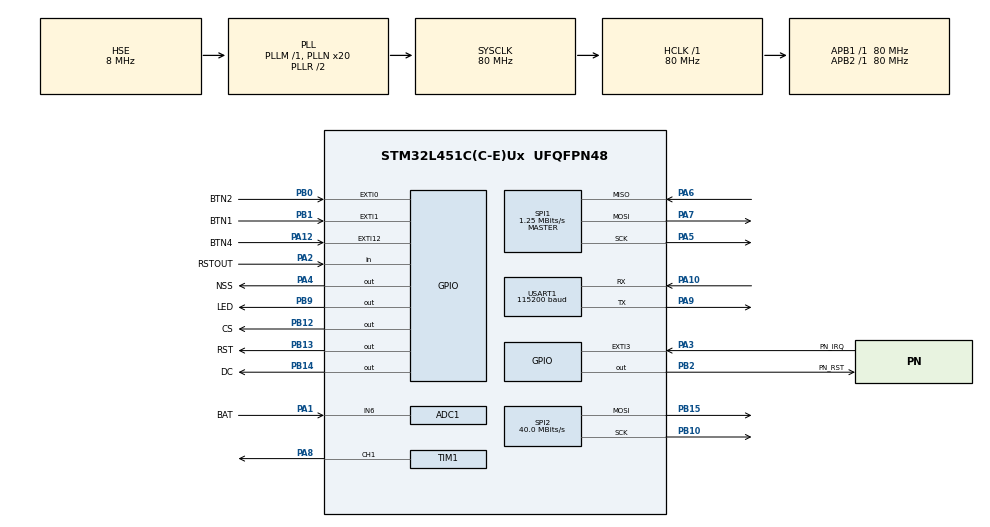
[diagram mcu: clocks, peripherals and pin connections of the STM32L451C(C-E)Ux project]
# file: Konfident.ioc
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ADC1.Channel-1\#ChannelRegularConversion=ADC_CHANNEL_6
ADC1.NbrOfConversionFlag=1
ADC1.OffsetNumber-1\#ChannelRegularConversion=ADC_OFFSET_NONE
ADC1.Rank-1\#ChannelRegularConversion=1
ADC1.SamplingTime-1\#ChannelRegularConversion=ADC_SAMPLETIME_2CYCLES_5
ADC1.master=1
Mcu.Family=STM32L4
Mcu.Name=STM32L451C(C-E)Ux
Mcu.Package=UFQFPN48
NVIC.EXTI0_IRQn=true\:2\:0\:true\:false\:true\:true\:true\:true
NVIC.EXTI15_10_IRQn=true\:2\:0\:true\:false\:true\:true\:true\:true
NVIC.EXTI1_IRQn=true\:2\:0\:true\:false\:true\:true\:true\:true
NVIC.EXTI3_IRQn=true\:2\:0\:true\:false\:true\:true\:true\:true
NVIC.PriorityGroup=NVIC_PRIORITYGROUP_4
NVIC.RTC_WKUP_IRQn=true\:0\:0\:false\:false\:true\:true\:true\:true
PA0.GPIO_Label=BTN3
PA0.Mode=SYS_WakeUp0
PA0.Signal=SYS_WKUP1
PA1.GPIO_Label=BAT
PA1.Signal=ADCx_IN6
PA10.Mode=Asynchronous
PA10.Signal=USART1_RX
PA12.GPIO_Label=BTN4
PA12.GPIO_ModeDefaultEXTI=GPIO_MODE_IT_FALLING
PA12.GPIO_PuPd=GPIO_PULLUP
PA12.Signal=GPXTI12
PA2.GPIO_Label=RSTOUT
PA2.Signal=GPIO_Input
PA3.GPIO_Label=PN_IRQ
PA3.Signal=GPXTI3
PA4.GPIO_Label=NSS
PA4.Signal=GPIO_Output
PA5.Mode=Full_Duplex_Master
PA5.Signal=SPI1_SCK
PA6.Mode=Full_Duplex_Master
PA6.Signal=SPI1_MISO
PA7.Mode=Full_Duplex_Master
PA7.Signal=SPI1_MOSI
PA8.Signal=S_TIM1_CH1
PA9.Mode=Asynchronous
PA9.Signal=USART1_TX
PB0.GPIO_Label=BTN2
PB0.GPIO_PuPd=GPIO_PULLUP
PB0.Signal=GPXTI0
PB1.GPIO_Label=BTN1
PB1.GPIO_ModeDefaultEXTI=GPIO_MODE_IT_FALLING
PB1.GPIO_PuPd=GPIO_PULLUP
PB1.Signal=GPXTI1
PB10.Mode=TX_Only_Simplex_Unidirect_Master
PB10.Signal=SPI2_SCK
PB12.GPIO_Label=CS
PB12.Signal=GPIO_Output
PB13.GPIO_Label=RST
PB13.Signal=GPIO_Output
PB14.GPIO_Label=DC
PB14.Signal=GPIO_Output
PB15.Mode=TX_Only_Simplex_Unidirect_Master
PB15.Signal=SPI2_MOSI
PB2.GPIO_Label=PN_RST
PB2.Signal=GPIO_Output
PB9.GPIO_Label=LED
PB9.Signal=GPIO_Output
PC14-OSC32_IN\ (PC14).Mode=LSE-External-Oscillator
PC14-OSC32_IN\ (PC14).Signal=RCC_OSC32_IN
PC15-OSC32_OUT\ (PC15).Mode=LSE-External-Oscillator
PC15-OSC32_OUT\ (PC15).Signal=RCC_OSC32_OUT
PH0-OSC_IN\ (PH0).Mode=HSE-External-Oscillator
PH0-OSC_IN\ (PH0).Signal=RCC_OSC_IN
PH1-OSC_OUT\ (PH1).Mode=HSE-External-Oscillator
PH1-OSC_OUT\ (PH1).Signal=RCC_OSC_OUT
ProjectManager.HeapSize=0x200
ProjectManager.StackSize=0x400
ProjectManager.TargetToolchain=STM32CubeIDE
RCC.ADCFreq_Value=32000000
RCC.AHBFreq_Value=80000000
RCC.APB1Freq_Value=80000000
RCC.APB1TimFreq_Value=80000000
RCC.APB2Freq_Value=80000000
RCC.APB2TimFreq_Value=80000000
RCC.CortexFreq_Value=80000000
RCC.HCLKFreq_Value=80000000
RCC.HSE_VALUE=8000000
RCC.HSI48_VALUE=48000000
RCC.HSI_VALUE=16000000
RCC.MSI_VALUE=4000000
RCC.PLLN=20
RCC.PLLSourceVirtual=RCC_PLLSOURCE_HSE
RCC.RTCClockSelection=RCC_RTCCLKSOURCE_LSE
RCC.SYSCLKFreq_VALUE=80000000
RCC.SYSCLKSource=RCC_SYSCLKSOURCE_PLLCLK
RCC.VCOOutputFreq_Value=160000000
RTC.Date=10
RTC.Hours=20
RTC.Minutes=10
RTC.Month=RTC_MONTH_JUNE
RTC.WakeUpCounter-WakeUp=61440
RTC.WeekDay=RTC_WEEKDAY_TUESDAY
RTC.Year=25
SH.ADCx_IN6.0=ADC1_IN6,IN6-Single-Ended
SH.S_TIM1_CH1.0=TIM1_CH1,PWM Generation1 CH1
SPI1.BaudRatePrescaler=SPI_BAUDRATEPRESCALER_64
SPI1.CalculateBaudRate=1.25 MBits/s
SPI1.DataSize=SPI_DATASIZE_8BIT
SPI1.Direction=SPI_DIRECTION_2LINES
SPI1.FirstBit=SPI_FIRSTBIT_LSB
SPI1.Mode=SPI_MODE_MASTER
SPI1.NSSPMode=SPI_NSS_PULSE_ENABLE
SPI1.VirtualType=VM_MASTER
SPI2.CalculateBaudRate=40.0 MBits/s
SPI2.DataSize=SPI_DATASIZE_8BIT
SPI2.Direction=SPI_DIRECTION_2LINES
SPI2.Mode=SPI_MODE_MASTER
SPI2.VirtualType=VM_MASTER
TIM1.Channel-PWM\ Generation1\ CH1=TIM_CHANNEL_1
TIM1.Period=49
TIM1.Prescaler=399
TIM1.Pulse-PWM\ Generation1\ CH1=20000
USART1.BaudRate=115200
USART1.VirtualMode-Asynchronous=VM_ASYNC
VP_RTC_VS_RTC_Activate.Mode=RTC_Enabled
VP_RTC_VS_RTC_Calendar.Mode=RTC_Calendar
VP_RTC_VS_RTC_WakeUp_intern.Mode=WakeUp
board=custom

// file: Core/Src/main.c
/* USER CODE BEGIN Header */
/**
  ******************************************************************************
  * @file           : main.c
  * @brief          : Main program body
  ******************************************************************************
  * @attention
  *
  * Copyright (c) 2025 STMicroelectronics.
  * All rights reserved.
  *
  * This software is licensed under terms that can be found in the LICENSE file
  * in the root directory of this software component.
  * If no LICENSE file comes with this software, it is provided AS-IS.
  *
  ******************************************************************************
  */
/* USER CODE END Header */
#include "main.h"

/* USER CODE BEGIN Includes */
#include "ILI9486Lib.h"
#include "database.h"

/* USER CODE END Includes */

ADC_HandleTypeDef hadc1;

RTC_HandleTypeDef hrtc;

SPI_HandleTypeDef hspi1;
SPI_HandleTypeDef hspi2;

TIM_HandleTypeDef htim1;

UART_HandleTypeDef huart1;

void SystemClock_Config(void);
static void MX_GPIO_Init(void);
static void MX_RTC_Init(void);
static void MX_SPI2_Init(void);
static void MX_TIM1_Init(void);
static void MX_ADC1_Init(void);
static void MX_SPI1_Init(void);
static void MX_USART1_UART_Init(void);

/* USER CODE BEGIN 0 */
Nauczyciel Nauczyciele[2];
Student Studenci[4];
Terminarz Terminarze[32];
uint8_t buff[255];
uint8_t uid[10];
uint8_t key_a[] = {0xFF, 0xFF, 0xFF, 0xFF, 0xFF, 0xFF};
uint8_t rtccounter = 0;
uint32_t pn532_error = PN532_ERROR_NONE;
char list[50][9] = {0};
uint8_t list_len = 0;
int32_t uid_len = 0;
PN532 pn532;
volatile uint8_t response_ready = 0;
time_t timestamp = 0;
uint16_t lesson_ids[10] = {0};
void* nauczyciel = NULL;
uint16_t wybrana_lekcja = 0;
uint16_t lessons_len = 0;
uint16_t id_lekcji = 0;
volatile uint32_t last_button_time = 0;
uint8_t status = 0;	// 1 jeżeli czeka na tak nauczyciela, 2 jeżeli czeka na wybór listy, 3 jeżeli czeka na tagi studentów lub zatwierdzenie listy, 0 dla reszty

uint8_t rx_buffer[128];
char* msg = "Wiadomość z STM32\r\n";

void buzzer(void)
{
	BUZZER_ON
	HAL_Delay(3000);
	BUZZER_OFF
}

void Set_Pin_HiZ(GPIO_TypeDef* GPIOx, uint16_t GPIO_Pin)
{
    GPIO_InitTypeDef GPIO_InitStruct = {0};
    GPIO_InitStruct.Pin = GPIO_Pin;
    GPIO_InitStruct.Mode = GPIO_MODE_INPUT;      // tryb wejścia = Hi-Z
    GPIO_InitStruct.Pull = GPIO_NOPULL;
    HAL_GPIO_Init(GPIOx, &GPIO_InitStruct);
}

void Set_Pin_Low(GPIO_TypeDef* GPIOx, uint16_t GPIO_Pin)
{
    GPIO_InitTypeDef GPIO_InitStruct = {0};

    HAL_GPIO_WritePin(GPIOx, GPIO_Pin, GPIO_PIN_RESET); // ustaw na LOW przed zmianą trybu!

    GPIO_InitStruct.Pin = GPIO_Pin;
    GPIO_InitStruct.Mode = GPIO_MODE_OUTPUT_PP;   // push-pull output
    GPIO_InitStruct.Pull = GPIO_NOPULL;
    GPIO_InitStruct.Speed = GPIO_SPEED_FREQ_LOW;
    HAL_GPIO_Init(GPIOx, &GPIO_InitStruct);
}

void sendList(void)
{
	  char buff[50] = {0};
	  char ack[4] = {0};
	  char len[4] = {0};
	  char ack_server[45] = {0};
	  uint8_t id_1 = 1;
	  uint8_t id_2 = 2;
	  sprintf(buff, "/4/[\"%d\",\"%d\"]", id_1, id_2);
	  ILI_WriteString(3,160,buff,0);
//	  printf("Buff: %s\r\n", buff);
	  uint8_t len_num = strlen(buff);
//	  printf("len_num: %d\r\n", len_num);
	  sprintf(len, "%d", len_num);
//	  printf("len: %s\r\n", len);
	  ILI_WriteString(3,180,len,0);
	  HAL_UART_Transmit(&huart1, (uint8_t *)len, strlen(len), HAL_MAX_DELAY);
	  HAL_StatusTypeDef status3 = HAL_UART_Receive(&huart1, (uint8_t *)ack, 3, HAL_MAX_DELAY);
	  if (status3 == 0 && strstr(ack, "ACK") != NULL){
//		  printf("Otrzymano ACK\r\n");
		  ILI_WriteString(3,200,"Otrzymano ACK",0);
		  HAL_UART_Transmit(&huart1, (uint8_t *)buff, len_num, HAL_MAX_DELAY);
		  HAL_StatusTypeDef status4 = HAL_UART_Receive(&huart1, (uint8_t *)ack, 3, HAL_MAX_DELAY);
		  if (status4 == 0 && strstr(ack, "ACK") != NULL){
//				  printf("Otrzymano ACK\r\n");
			  ILI_WriteString(3,220,"Otrzymano ACK",0);
				HAL_StatusTypeDef status5 = HAL_UART_Receive(&huart1, (uint8_t *)ack_server, 42, HAL_MAX_DELAY);
//				printf("ack_server: %s", ack_server);
				ILI_WriteString(3,240,ack_server, 0);
		  }
	  }
}

float getBatteryVoltage(void)
{
//	BUZZER_ON
//	HAL_Delay(500);
//	BUZZER_OFF
	uint32_t adc_value = 0;
	float voltage = 0.0f;
	BATTERY_DIVIDER_ON
	HAL_Delay(10);
    HAL_ADC_Start(&hadc1);                              // Uruchom ADC
    if (HAL_ADC_PollForConversion(&hadc1, 100) == HAL_OK) // Czekaj na zakończenie konwersji
    {
        adc_value = HAL_ADC_GetValue(&hadc1);           // Pobierz wartość
        voltage = ((float)adc_value / 4095.0f) * 3.3f;  // Zakładając napięcie referencyjne 3.3V
    }
    HAL_ADC_Stop(&hadc1);
    HAL_Delay(10);
    BATTERY_DIVIDER_OFF

	HAL_Delay(500);
    voltage = (8.0/3.0)*voltage;
//    BUZZER_OFF
    return voltage;
}

//int __io_putchar(int ch)
//{
//	char buffer[20];
////    HAL_UART_Transmit(&huart2, (uint8_t *)&ch, 1, HAL_MAX_DELAY);
//    sprintf(buffer, "%d", ch);
//    ILI_WriteString(410,100,buffer,0);
//    return ch;
//}

void uart_test(void)
{
	char buffer[11], response[13];
	sprintf(buffer, "0%s", ((Nauczyciel*)nauczyciel)->uuid);
//	__HAL_UART_FLUSH_DRREGISTER(&huart1); // dla HAL
//	__HAL_UART_CLEAR_OREFLAG(&huart1);
//	__HAL_UART_CLEAR_FEFLAG(&huart1);
//	__HAL_UART_CLEAR_NEFLAG(&huart1);
	HAL_UART_Transmit(&huart1, (uint8_t*)buffer, 15, HAL_MAX_DELAY);
	HAL_StatusTypeDef status;
	status = HAL_UART_Receive(&huart1, (uint8_t*)response, 13, HAL_MAX_DELAY);
	response[12] = '\0';
	if (status == 0)
	{
		ILI_WriteString(50,50,response,0);
	}
}

void PN532_IRQ_Teacher_Handler(void)
{
	BUZZER_ON
	HAL_Delay(500);
	BUZZER_OFF
	if (uid_len == PN532_STATUS_ERROR) {
	} else {
//		uart_test();
		char buffer[9];
		char bufor[50];
		uint8_t i = 0;
		for (i = 0; i < uid_len; i++)
		{
			sprintf(&buffer[i*2], "%02x", uid[i]);
		}
		buffer[i*2] = '\0';
		nauczyciel = findTeacherId(buffer);
		ILI_SmallCLS();
		if (nauczyciel == NULL)
		{
			ILI_WriteBigString(40,195,"Zeskanowany tag nie",0xFF0000);
			ILI_WriteBigString(60,225,"należy do żadnego",0xFF0000);
			ILI_WriteBigString(50,255,"pracownika uczelni",0xFF0000);
			return;
		}
		ILI_DrawPicture(110,80,((Nauczyciel*)nauczyciel)->zdjecie,100,125);
		ILI_WriteBigString(3,280,((Nauczyciel*)nauczyciel)->imie,0);
		ILI_WriteBigString(3,300,((Nauczyciel*)nauczyciel)->nazwisko,0);
		ILI_DrawWhiteSector(3,466,200,13);
		sprintf(bufor,"%c.%s",((Nauczyciel*)nauczyciel)->imie[0],((Nauczyciel*)nauczyciel)->nazwisko);
		ILI_WriteString(3,466,bufor,0);
		status = 2;
		//printf("\r\n");
		//		HAL_UART_Transmit(&hlpuart1, uid, uid_len, 1000);
		//		printf("Wyslano UART RFID\r\n");
	}
}

void PN532_IRQ_Student_Handler(void)
{
	BUZZER_ON
	HAL_Delay(500);
	BUZZER_OFF
	if (uid_len == PN532_STATUS_ERROR) {
	} else {
		char buffer[9];
		char bufor[100];
		uint8_t i = 0;
		for (i = 0; i < uid_len; i++)
		{
			sprintf(&buffer[i*2], "%02x", uid[i]);
		}
		buffer[i*2] = '\0';
		Student* student = findStudentId(buffer);
		ILI_SmallCLS();
		if (student == NULL)
		{
			ILI_WriteBigString(40,215,"Zeskanowany tag nie",0xFF0000);
			ILI_WriteBigString(3,245,"należy do żadnego studenta",0xFF0000);
			return;
		}

		ILI_DrawPicture(110,80,student->zdjecie,100,125);
		ILI_WriteBigString(3,280,student->imie,0);
		ILI_WriteBigString(3,300,student->nazwisko,0);
		uint8_t status = isStudentOnList(student->uuid, id_lekcji);
		if (status == 0)
		{
			ILI_WriteBigString(3,330,"Student nie znajduje się",0xFF0000);
			ILI_WriteBigString(3,360,"na liście",0xFF0000);
			return;
		}
		ILI_WriteBigString(3,330,"Zatwierdzono obecność",0x00FF00);
		for(i = 0; i < list_len; i++)
				{
					sprintf(bufor,"%02x%02x%02x%02x",list[i][0],list[i][1],list[i][2],list[i][3]);
					ILI_WriteString(3,360+(i*20),bufor,0);
				}
		for(i = 0; i < list_len; i++)
		{
			if(strcmp(list[i],student->uuid) == 0)	return;
		}
		strcpy(list[list_len],student->uuid);
		list_len++;
		//printf("\r\n");
		//		HAL_UART_Transmit(&hlpuart1, uid, uid_len, 1000);
		//		printf("Wyslano UART RFID\r\n");
	}
}

//void HAL_GPIO_EXTI_Callback(uint16_t GPIO_Pin)
//{
//    if (GPIO_Pin == PN532_IRQ_Pin)
//    {
//    	printf("IRQ from PN532 triggered!\r\n");
//    	printf("response_ready callback: %d\r\n", response_ready);
//    	if (response_ready == 1){
//    		printf("response_ready = 1 handler\r\n");
//    		PN532_IRQ_Handler();
//    	}
//    }
//}

void HAL_GPIO_EXTI_Callback(uint16_t GPIO_Pin)
{
	if (GPIO_Pin == BTN1_Pin)
	{
        uint32_t now = HAL_GetTick();
        if (now - last_button_time < 200) return; // debounce: 200 ms
        last_button_time = now;
		if (status == 3)	sendList();
		if (status == 2 && wybrana_lekcja > 0)	wybrana_lekcja--;
	}
	if (GPIO_Pin == BTN2_Pin)
	{
		uint32_t now = HAL_GetTick();
		if (now - last_button_time < 200) return; // debounce: 200 ms
		last_button_time = now;
		if (status == 2)
		{
			id_lekcji = Terminarze[lesson_ids[wybrana_lekcja]].id;
			ILI_DrawWhiteSector(200,466,119,13);
			ILI_WriteString(317  - (7 * strlen(Terminarze[lesson_ids[wybrana_lekcja]].nazwa_przedmiotu)),466,Terminarze[lesson_ids[wybrana_lekcja]].nazwa_przedmiotu,0);
			status = 3;
		}
	}
	if (GPIO_Pin == BTN4_Pin)
	{
		uint32_t now = HAL_GetTick();
		if (now - last_button_time < 200) return;
		last_button_time = now;
		if (status == 2 && wybrana_lekcja < lessons_len - 1)	wybrana_lekcja++;
	}
	if (GPIO_Pin == PN_IRQ_Pin)
	{
		if (response_ready == 0)	return;
		response_ready = 0;
		if (status == 1)	PN532_IRQ_Teacher_Handler();
		if (status == 3)	PN532_IRQ_Student_Handler();
	}
}

void HAL_RTCEx_WakeUpTimerEventCallback(RTC_HandleTypeDef *hrtc)
{
	ILI_DrawInnerBattery();
	timestamp += 30;
	struct tm *dt;
	dt = localtime(&timestamp);
	char date[17];
	sprintf(date,"%02d.%02d.%04d %d:%02d",dt->tm_mday,dt->tm_mon+1,dt->tm_year+1900,dt->tm_hour,dt->tm_min);
	ILI_DrawWhiteSector(3,1,115,12);
	ILI_WriteString(3,1,date,0);
}

void bytes_to_hex_string(const unsigned char *bytes, size_t length, char *output) {
    for (size_t i = 0; i < length; i++) {
        // %02X - formatowanie na 2 cyfry hex, wielkie litery
        sprintf(output + i*2, "%02X", bytes[i]);
    }
    output[length * 2] = '\0';  // zakończenie stringa
}
/* USER CODE END 0 */

int main(void)
{

  /* MCU Configuration--------------------------------------------------------*/

  /* Reset of all peripherals, Initializes the Flash interface and the Systick. */
  HAL_Init();

  /* Configure the system clock */
  SystemClock_Config();

  /* Initialize all configured peripherals */
  MX_GPIO_Init();
  MX_RTC_Init();
  MX_SPI2_Init();
  MX_TIM1_Init();
  MX_ADC1_Init();
  MX_SPI1_Init();
  MX_USART1_UART_Init();
  /* USER CODE BEGIN 2 */
  GPIO_InitTypeDef GPIO_InitStruct = {0};
  GPIO_InitStruct.Pin = GPIO_PIN_0;
  GPIO_InitStruct.Mode = GPIO_MODE_INPUT;
  GPIO_InitStruct.Pull = GPIO_PULLUP;
  PN532_SPI_Init(&pn532);
  PN532_SamConfiguration(&pn532);
  HAL_GPIO_Init(GPIOA, &GPIO_InitStruct);
  init_database();
  ILI_Init();
  ILI_Intro();
  ILI_CLS();
  setenv("TZ", "CET-1CEST,M3.5.0/2,M10.5.0/3", 1);
  tzset();
//  ILI_WriteString(3,1,"04.06.2025 11:22 MY_SSID",0);
//  ILI_DrawBlackSector(0,15,320,3);
//  ILI_DrawBattery();
//  ILI_DrawInnerBattery();
//  ILI_WriteBigString(3,280,"Kazimierz",0);
//  ILI_WriteBigString(3,300,"BRZĘCZYSZCZYKIEWICZ",0);
//  ILI_DrawBlackSector(0,462,320,3);
//  ILI_WriteString(3,466,"P.Korpas",0);
//  ILI_WriteString(290,466,"PBL4",0);
//  ILI_WriteString(90,350,"1. Zatwierdź listę",0);
//  ILI_WriteString(65,370,"2. Anuluj wybór przedmiotu",0);
//  ILI_WriteString(120,390,"3. Uśpij",0);
//  ILI_SmallCLS();
//  ILI_WriteBigString(3,280,"Kazimierz",0);
//  ILI_WriteBigString(3,300,"BRZĘCZYSZCZYKIEWICZ",0);
  ILI_CLS();
  ILI_WriteBigString(3, 220, "Połącz urządzenie do sieci Wi-Fi",0);
//  	  printf("Waiting for RFID/NFC card...\r\n");

//  	  printf("response ready waiting: %d\r\n", response_ready);

  /* USER CODE END 2 */

  /* Infinite loop */
  /* USER CODE BEGIN WHILE */
  // POBIRANIE DATY
     uint8_t timestamp1[10] = {0};
	  uint8_t ssid[16] = {0};
	  __HAL_UART_FLUSH_DRREGISTER(&huart1); // dla HAL
	  __HAL_UART_CLEAR_OREFLAG(&huart1);
	  __HAL_UART_CLEAR_FEFLAG(&huart1);
	  __HAL_UART_CLEAR_NEFLAG(&huart1);

//
//	  // Odczyt timestamp
	  while(1){
		  HAL_StatusTypeDef status;
		  status = HAL_UART_Receive(&huart1, timestamp1, 10, HAL_MAX_DELAY);
//		  printf("status: %d\r\n", status);
		  if (status == 0){
//			  for(uint8_t i=0; i < 10; i++){
//				  printf("%c", timestamp[i]);
//			  }
//			  printf("\r\n");
			  char timestamp_str[11];
			  memcpy(timestamp_str, timestamp1, 10);
			  timestamp_str[10] = '\0';
			  unsigned long timestamp_val = strtoul(timestamp_str, NULL, 10);
			  timestamp = timestamp_val - 30;
			  ILI_DrawBlackSector(0,15,320,3);
			  ILI_DrawBattery();
			  ILI_DrawBlackSector(0,462,320,3);
			  HAL_RTCEx_WakeUpTimerEventCallback(&hrtc);
			  HAL_TIM_PWM_Start(&htim1, TIM_CHANNEL_1);
			  HAL_RTCEx_SetWakeUpTimer_IT(&hrtc, 61440, RTC_WAKEUPCLOCK_RTCCLK_DIV16);
//			  uint8_t i = 0;
//			  for (i = 0; i < 10; i++)
//			  {
//				  timestamp *= 2;
//				  timestamp += timestamp1[i] - 48;
//			  }
			  HAL_Delay(1000);
			  HAL_UART_Transmit(&huart1, (uint8_t*)"ACK", strlen("ACK"), HAL_MAX_DELAY);
			  break;
		  }
	  }
//	  // Odczyt SSID
	  while(1){
		  HAL_StatusTypeDef status2 = HAL_UART_Receive(&huart1, ssid, 15, HAL_MAX_DELAY);
//		  printf("status2: %d\r\n", status2);
		  if (status2 == 0){
//			  for(uint8_t i=0; i < 32; i++){
//				  printf("%c", ssid[i]);
//			  }
//			  printf("\r\n");
			  ssid[15] = '\0';
			  ILI_DrawWhiteSector(120,1,170,12);
			  ILI_WriteString(130,1,ssid,0);
			  HAL_UART_Transmit(&huart1, (uint8_t*)"ACK", strlen("ACK"), HAL_MAX_DELAY);
			  ILI_SmallCLS();
			  ILI_WriteBigString(3, 220, "Zeskanuj tag prowadzącego",0);
  			  break;
  		  }
//  timestamp = 1749782311;
//  status = 1;
}
while (1)
{
	// Szukanie tagu RFID
	while (status == 1)
	{
//		ILI_LEDOFF();
		uid_len = PN532_ReadPassiveTarget(&pn532, uid, PN532_MIFARE_ISO14443A, 1000);
		//printf("uid_len: %d\r\n\n", uid_len);
		if (uid_len != PN532_STATUS_ERROR){
//			ILI_LEDON();
			response_ready = 1;
		}
	}
	HAL_Delay(5000);
	lessons_len = getLessonIds(((Nauczyciel*)nauczyciel)->uuid);
	if (lessons_len == 0)
	{
		char bufor[100] = {0};
		sprintf(bufor,"%s %s",((Nauczyciel*)nauczyciel)->imie,((Nauczyciel*)nauczyciel)->nazwisko);
		ILI_SmallCLS();
		ILI_WriteBigString(100,195,"Nauczyciel",0xFF0000);
		ILI_WriteBigString(160 - (6 * strlen(bufor)),225,bufor,0xFF0000);
		ILI_WriteBigString(10,255,"nie prowadzi teraz zajęć",0xFF0000);
		status = 1;
		continue;
	}
	uint16_t i = 0;
	while (status == 2)
	{
		ILI_SmallCLS();
		for (i = 0; i < lessons_len; i++)
		{
			if (wybrana_lekcja == i)
			{
				ILI_DrawBlackSector(0,20 + (30 * i),320,30);
				ILI_WriteBigString(160 - (10 * strlen(Terminarze[lesson_ids[i]].nazwa_przedmiotu)),22 + (30 * i),Terminarze[lesson_ids[i]].nazwa_przedmiotu,0xFFFFFF);
				continue;
			}
			ILI_WriteBigString(160 - (10 * strlen(Terminarze[lesson_ids[i]].nazwa_przedmiotu)),22 + (30 * i),Terminarze[lesson_ids[i]].nazwa_przedmiotu,0);
		}
		HAL_Delay(1000);
	}
	ILI_SmallCLS();
	ILI_WriteBigString(100,230,"Zeskanuj Tag",0);
	while (status == 3)
	{
		uid_len = PN532_ReadPassiveTarget(&pn532, uid, PN532_MIFARE_ISO14443A, 1000);
		//printf("uid_len: %d\r\n\n", uid_len);
		if (uid_len != PN532_STATUS_ERROR){
			response_ready = 1;
		}
	}

//	  uint8_t rx[260] = {0};
//	  HAL_UART_Transmit(&huart1, (uint8_t*)"Hello", strlen("Hello"), 1000);
//	  //printf("Wyslano UART\r\n");
//	  HAL_UART_Receive(&huart1, rx, 243, 1000);
//	  rx[258] = '\0';
//
//	  ILI_WriteString(3,20+index, (char*)rx,0);
//	  index+=20;
//
//	  HAL_Delay(2000);
//	  if(BTN1_PRESSED)
//	  {
//		  ILI_WriteString(120,300,"1",0);
//	  }
//	  else ILI_WriteString(120,300,"1",0xFFFFFF);
//	  if(BTN2_PRESSED)
//	  {
//		  ILI_WriteString(140,300,"2",0);
//	  }
//	  else ILI_WriteString(140,300,"2",0xFFFFFF);
//	  if(BTN3_PRESSED)
//	  {
//		  ILI_WriteString(160,300,"3",0);
//	  }
//	  else ILI_WriteString(160,300,"3",0xFFFFFF);
//	  if(BTN4_PRESSED)
//	  {
//		  ILI_WriteString(180,300,"4",0);
//	  }
//	  else ILI_WriteString(180,300,"4",0xFFFFFF);

    /* USER CODE END WHILE */

	}
}

void SystemClock_Config(void)
{
  RCC_OscInitTypeDef RCC_OscInitStruct = {0};
  RCC_ClkInitTypeDef RCC_ClkInitStruct = {0};

  /** Configure the main internal regulator output voltage
  */
  if (HAL_PWREx_ControlVoltageScaling(PWR_REGULATOR_VOLTAGE_SCALE1) != HAL_OK)
  {
    Error_Handler();
  }

  /** Configure LSE Drive Capability
  */
  HAL_PWR_EnableBkUpAccess();
  __HAL_RCC_LSEDRIVE_CONFIG(RCC_LSEDRIVE_LOW);

  /** Initializes the RCC Oscillators according to the specified parameters
  * in the RCC_OscInitTypeDef structure.
  */
  RCC_OscInitStruct.OscillatorType = RCC_OSCILLATORTYPE_HSE|RCC_OSCILLATORTYPE_LSE;
  RCC_OscInitStruct.HSEState = RCC_HSE_ON;
  RCC_OscInitStruct.LSEState = RCC_LSE_ON;
  RCC_OscInitStruct.PLL.PLLState = RCC_PLL_ON;
  RCC_OscInitStruct.PLL.PLLSource = RCC_PLLSOURCE_HSE;
  RCC_OscInitStruct.PLL.PLLM = 1;
  RCC_OscInitStruct.PLL.PLLN = 20;
  RCC_OscInitStruct.PLL.PLLP = RCC_PLLP_DIV7;
  RCC_OscInitStruct.PLL.PLLQ = RCC_PLLQ_DIV2;
  RCC_OscInitStruct.PLL.PLLR = RCC_PLLR_DIV2;
  if (HAL_RCC_OscConfig(&RCC_OscInitStruct) != HAL_OK)
  {
    Error_Handler();
  }

  /** Initializes the CPU, AHB and APB buses clocks
  */
  RCC_ClkInitStruct.ClockType = RCC_CLOCKTYPE_HCLK|RCC_CLOCKTYPE_SYSCLK
                              |RCC_CLOCKTYPE_PCLK1|RCC_CLOCKTYPE_PCLK2;
  RCC_ClkInitStruct.SYSCLKSource = RCC_SYSCLKSOURCE_PLLCLK;
  RCC_ClkInitStruct.AHBCLKDivider = RCC_SYSCLK_DIV1;
  RCC_ClkInitStruct.APB1CLKDivider = RCC_HCLK_DIV1;
  RCC_ClkInitStruct.APB2CLKDivider = RCC_HCLK_DIV1;

  if (HAL_RCC_ClockConfig(&RCC_ClkInitStruct, FLASH_LATENCY_4) != HAL_OK)
  {
    Error_Handler();
  }
}

static void MX_ADC1_Init(void)
{

  ADC_ChannelConfTypeDef sConfig = {0};

  /** Common config
  */
  hadc1.Instance = ADC1;
  hadc1.Init.ClockPrescaler = ADC_CLOCK_ASYNC_DIV1;
  hadc1.Init.Resolution = ADC_RESOLUTION_12B;
  hadc1.Init.DataAlign = ADC_DATAALIGN_RIGHT;
  hadc1.Init.ScanConvMode = ADC_SCAN_DISABLE;
  hadc1.Init.EOCSelection = ADC_EOC_SINGLE_CONV;
  hadc1.Init.LowPowerAutoWait = DISABLE;
  hadc1.Init.ContinuousConvMode = DISABLE;
  hadc1.Init.NbrOfConversion = 1;
  hadc1.Init.DiscontinuousConvMode = DISABLE;
  hadc1.Init.ExternalTrigConv = ADC_SOFTWARE_START;
  hadc1.Init.ExternalTrigConvEdge = ADC_EXTERNALTRIGCONVEDGE_NONE;
  hadc1.Init.DMAContinuousRequests = DISABLE;
  hadc1.Init.Overrun = ADC_OVR_DATA_PRESERVED;
  hadc1.Init.OversamplingMode = DISABLE;
  if (HAL_ADC_Init(&hadc1) != HAL_OK)
  {
    Error_Handler();
  }

  /** Configure Regular Channel
  */
  sConfig.Channel = ADC_CHANNEL_6;
  sConfig.Rank = ADC_REGULAR_RANK_1;
  sConfig.SamplingTime = ADC_SAMPLETIME_2CYCLES_5;
  sConfig.SingleDiff = ADC_SINGLE_ENDED;
  sConfig.OffsetNumber = ADC_OFFSET_NONE;
  sConfig.Offset = 0;
  if (HAL_ADC_ConfigChannel(&hadc1, &sConfig) != HAL_OK)
  {
    Error_Handler();
  }

}

static void MX_RTC_Init(void)
{

  RTC_TimeTypeDef sTime = {0};
  RTC_DateTypeDef sDate = {0};

  /** Initialize RTC Only
  */
  hrtc.Instance = RTC;
  hrtc.Init.HourFormat = RTC_HOURFORMAT_24;
  hrtc.Init.AsynchPrediv = 127;
  hrtc.Init.SynchPrediv = 255;
  hrtc.Init.OutPut = RTC_OUTPUT_DISABLE;
  hrtc.Init.OutPutRemap = RTC_OUTPUT_REMAP_NONE;
  hrtc.Init.OutPutPolarity = RTC_OUTPUT_POLARITY_HIGH;
  hrtc.Init.OutPutType = RTC_OUTPUT_TYPE_OPENDRAIN;
  if (HAL_RTC_Init(&hrtc) != HAL_OK)
  {
    Error_Handler();
  }

  /** Initialize RTC and set the Time and Date
  */
  sTime.Hours = 0x20;
  sTime.Minutes = 0x10;
  sTime.Seconds = 0x0;
  sTime.DayLightSaving = RTC_DAYLIGHTSAVING_NONE;
  sTime.StoreOperation = RTC_STOREOPERATION_RESET;
  if (HAL_RTC_SetTime(&hrtc, &sTime, RTC_FORMAT_BCD) != HAL_OK)
  {
    Error_Handler();
  }
  sDate.WeekDay = RTC_WEEKDAY_TUESDAY;
  sDate.Month = RTC_MONTH_JUNE;
  sDate.Date = 0x10;
  sDate.Year = 0x25;

  if (HAL_RTC_SetDate(&hrtc, &sDate, RTC_FORMAT_BCD) != HAL_OK)
  {
    Error_Handler();
  }

}

static void MX_SPI1_Init(void)
{

  /* SPI1 parameter configuration*/
  hspi1.Instance = SPI1;
  hspi1.Init.Mode = SPI_MODE_MASTER;
  hspi1.Init.Direction = SPI_DIRECTION_2LINES;
  hspi1.Init.DataSize = SPI_DATASIZE_8BIT;
  hspi1.Init.CLKPolarity = SPI_POLARITY_LOW;
  hspi1.Init.CLKPhase = SPI_PHASE_1EDGE;
  hspi1.Init.NSS = SPI_NSS_SOFT;
  hspi1.Init.BaudRatePrescaler = SPI_BAUDRATEPRESCALER_64;
  hspi1.Init.FirstBit = SPI_FIRSTBIT_LSB;
  hspi1.Init.TIMode = SPI_TIMODE_DISABLE;
  hspi1.Init.CRCCalculation = SPI_CRCCALCULATION_DISABLE;
  hspi1.Init.CRCPolynomial = 7;
  hspi1.Init.CRCLength = SPI_CRC_LENGTH_DATASIZE;
  hspi1.Init.NSSPMode = SPI_NSS_PULSE_ENABLE;
  if (HAL_SPI_Init(&hspi1) != HAL_OK)
  {
    Error_Handler();
  }

}

static void MX_SPI2_Init(void)
{

  /* SPI2 parameter configuration*/
  hspi2.Instance = SPI2;
  hspi2.Init.Mode = SPI_MODE_MASTER;
  hspi2.Init.Direction = SPI_DIRECTION_2LINES;
  hspi2.Init.DataSize = SPI_DATASIZE_8BIT;
  hspi2.Init.CLKPolarity = SPI_POLARITY_LOW;
  hspi2.Init.CLKPhase = SPI_PHASE_1EDGE;
  hspi2.Init.NSS = SPI_NSS_SOFT;
  hspi2.Init.BaudRatePrescaler = SPI_BAUDRATEPRESCALER_2;
  hspi2.Init.FirstBit = SPI_FIRSTBIT_MSB;
  hspi2.Init.TIMode = SPI_TIMODE_DISABLE;
  hspi2.Init.CRCCalculation = SPI_CRCCALCULATION_DISABLE;
  hspi2.Init.CRCPolynomial = 7;
  hspi2.Init.CRCLength = SPI_CRC_LENGTH_DATASIZE;
  hspi2.Init.NSSPMode = SPI_NSS_PULSE_ENABLE;
  if (HAL_SPI_Init(&hspi2) != HAL_OK)
  {
    Error_Handler();
  }

}

static void MX_TIM1_Init(void)
{

  TIM_MasterConfigTypeDef sMasterConfig = {0};
  TIM_OC_InitTypeDef sConfigOC = {0};
  TIM_BreakDeadTimeConfigTypeDef sBreakDeadTimeConfig = {0};

  htim1.Instance = TIM1;
  htim1.Init.Prescaler = 399;
  htim1.Init.CounterMode = TIM_COUNTERMODE_UP;
  htim1.Init.Period = 49;
  htim1.Init.ClockDivision = TIM_CLOCKDIVISION_DIV1;
  htim1.Init.RepetitionCounter = 0;
  htim1.Init.AutoReloadPreload = TIM_AUTORELOAD_PRELOAD_DISABLE;
  if (HAL_TIM_PWM_Init(&htim1) != HAL_OK)
  {
    Error_Handler();
  }
  sMasterConfig.MasterOutputTrigger = TIM_TRGO_RESET;
  sMasterConfig.MasterOutputTrigger2 = TIM_TRGO2_RESET;
  sMasterConfig.MasterSlaveMode = TIM_MASTERSLAVEMODE_DISABLE;
  if (HAL_TIMEx_MasterConfigSynchronization(&htim1, &sMasterConfig) != HAL_OK)
  {
    Error_Handler();
  }
  sConfigOC.OCMode = TIM_OCMODE_PWM1;
  sConfigOC.Pulse = 20000;
  sConfigOC.OCPolarity = TIM_OCPOLARITY_HIGH;
  sConfigOC.OCNPolarity = TIM_OCNPOLARITY_HIGH;
  sConfigOC.OCFastMode = TIM_OCFAST_DISABLE;
  sConfigOC.OCIdleState = TIM_OCIDLESTATE_RESET;
  sConfigOC.OCNIdleState = TIM_OCNIDLESTATE_RESET;
  if (HAL_TIM_PWM_ConfigChannel(&htim1, &sConfigOC, TIM_CHANNEL_1) != HAL_OK)
  {
    Error_Handler();
  }
  sBreakDeadTimeConfig.OffStateRunMode = TIM_OSSR_DISABLE;
  sBreakDeadTimeConfig.OffStateIDLEMode = TIM_OSSI_DISABLE;
  sBreakDeadTimeConfig.LockLevel = TIM_LOCKLEVEL_OFF;
  sBreakDeadTimeConfig.DeadTime = 0;
  sBreakDeadTimeConfig.BreakState = TIM_BREAK_DISABLE;
  sBreakDeadTimeConfig.BreakPolarity = TIM_BREAKPOLARITY_HIGH;
  sBreakDeadTimeConfig.BreakFilter = 0;
  sBreakDeadTimeConfig.Break2State = TIM_BREAK2_DISABLE;
  sBreakDeadTimeConfig.Break2Polarity = TIM_BREAK2POLARITY_HIGH;
  sBreakDeadTimeConfig.Break2Filter = 0;
  sBreakDeadTimeConfig.AutomaticOutput = TIM_AUTOMATICOUTPUT_DISABLE;
  if (HAL_TIMEx_ConfigBreakDeadTime(&htim1, &sBreakDeadTimeConfig) != HAL_OK)
  {
    Error_Handler();
  }
  HAL_TIM_MspPostInit(&htim1);

}

static void MX_USART1_UART_Init(void)
{

  huart1.Instance = USART1;
  huart1.Init.BaudRate = 115200;
  huart1.Init.WordLength = UART_WORDLENGTH_8B;
  huart1.Init.StopBits = UART_STOPBITS_1;
  huart1.Init.Parity = UART_PARITY_NONE;
  huart1.Init.Mode = UART_MODE_TX_RX;
  huart1.Init.HwFlowCtl = UART_HWCONTROL_NONE;
  huart1.Init.OverSampling = UART_OVERSAMPLING_16;
  huart1.Init.OneBitSampling = UART_ONE_BIT_SAMPLE_DISABLE;
  huart1.AdvancedInit.AdvFeatureInit = UART_ADVFEATURE_NO_INIT;
  if (HAL_UART_Init(&huart1) != HAL_OK)
  {
    Error_Handler();
  }

}

static void MX_GPIO_Init(void)
{
  GPIO_InitTypeDef GPIO_InitStruct = {0};

  /* GPIO Ports Clock Enable */
  __HAL_RCC_GPIOC_CLK_ENABLE();
  __HAL_RCC_GPIOH_CLK_ENABLE();
  __HAL_RCC_GPIOA_CLK_ENABLE();
  __HAL_RCC_GPIOB_CLK_ENABLE();

  /*Configure GPIO pin Output Level */
  HAL_GPIO_WritePin(NSS_GPIO_Port, NSS_Pin, GPIO_PIN_RESET);

  /*Configure GPIO pin Output Level */
  HAL_GPIO_WritePin(GPIOB, PN_RST_Pin|CS_Pin|RST_Pin|DC_Pin
                          |LED_Pin, GPIO_PIN_RESET);

  /*Configure GPIO pin : RSTOUT_Pin */
  GPIO_InitStruct.Pin = RSTOUT_Pin;
  GPIO_InitStruct.Mode = GPIO_MODE_INPUT;
  GPIO_InitStruct.Pull = GPIO_NOPULL;
  HAL_GPIO_Init(RSTOUT_GPIO_Port, &GPIO_InitStruct);

  /*Configure GPIO pin : PN_IRQ_Pin */
  GPIO_InitStruct.Pin = PN_IRQ_Pin;
  GPIO_InitStruct.Mode = GPIO_MODE_IT_RISING;
  GPIO_InitStruct.Pull = GPIO_NOPULL;
  HAL_GPIO_Init(PN_IRQ_GPIO_Port, &GPIO_InitStruct);

  /*Configure GPIO pin : NSS_Pin */
  GPIO_InitStruct.Pin = NSS_Pin;
  GPIO_InitStruct.Mode = GPIO_MODE_OUTPUT_PP;
  GPIO_InitStruct.Pull = GPIO_NOPULL;
  GPIO_InitStruct.Speed = GPIO_SPEED_FREQ_LOW;
  HAL_GPIO_Init(NSS_GPIO_Port, &GPIO_InitStruct);

  /*Configure GPIO pin : BTN2_Pin */
  GPIO_InitStruct.Pin = BTN2_Pin;
  GPIO_InitStruct.Mode = GPIO_MODE_IT_RISING;
  GPIO_InitStruct.Pull = GPIO_PULLUP;
  HAL_GPIO_Init(BTN2_GPIO_Port, &GPIO_InitStruct);

  /*Configure GPIO pin : BTN1_Pin */
  GPIO_InitStruct.Pin = BTN1_Pin;
  GPIO_InitStruct.Mode = GPIO_MODE_IT_FALLING;
  GPIO_InitStruct.Pull = GPIO_PULLUP;
  HAL_GPIO_Init(BTN1_GPIO_Port, &GPIO_InitStruct);

  /*Configure GPIO pins : PN_RST_Pin CS_Pin RST_Pin DC_Pin
                           LED_Pin */
  GPIO_InitStruct.Pin = PN_RST_Pin|CS_Pin|RST_Pin|DC_Pin
                          |LED_Pin;
  GPIO_InitStruct.Mode = GPIO_MODE_OUTPUT_PP;
  GPIO_InitStruct.Pull = GPIO_NOPULL;
  GPIO_InitStruct.Speed = GPIO_SPEED_FREQ_LOW;
  HAL_GPIO_Init(GPIOB, &GPIO_InitStruct);

  /*Configure GPIO pin : BTN4_Pin */
  GPIO_InitStruct.Pin = BTN4_Pin;
  GPIO_InitStruct.Mode = GPIO_MODE_IT_FALLING;
  GPIO_InitStruct.Pull = GPIO_PULLUP;
  HAL_GPIO_Init(BTN4_GPIO_Port, &GPIO_InitStruct);

  /* EXTI interrupt init*/
  HAL_NVIC_SetPriority(EXTI0_IRQn, 2, 0);
  HAL_NVIC_EnableIRQ(EXTI0_IRQn);

  HAL_NVIC_SetPriority(EXTI1_IRQn, 2, 0);
  HAL_NVIC_EnableIRQ(EXTI1_IRQn);

  HAL_NVIC_SetPriority(EXTI3_IRQn, 2, 0);
  HAL_NVIC_EnableIRQ(EXTI3_IRQn);

  HAL_NVIC_SetPriority(EXTI15_10_IRQn, 2, 0);
  HAL_NVIC_EnableIRQ(EXTI15_10_IRQn);

}

void Error_Handler(void)
{
  __disable_irq();
  while (1)
  {
  }
}
